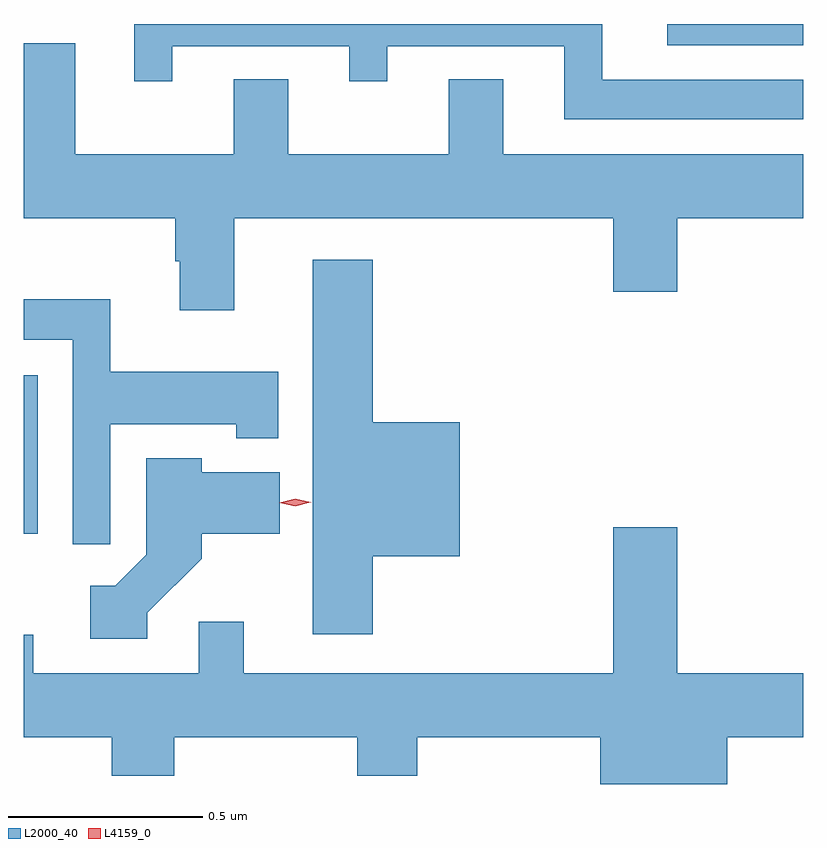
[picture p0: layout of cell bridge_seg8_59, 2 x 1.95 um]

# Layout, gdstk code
import gdstk
lib = gdstk.Library(unit=1e-6, precision=1e-09)
def R(c, l, rs):  # rectangles x0, y0, x1, y1
    for r in rs: c.add(gdstk.rectangle(r[:2], r[2:], *l))
def P(c, l, *ps):  # polygons
    for p in ps: c.add(gdstk.Polygon(p, *l))
L2000_40 = (2000, 40)
L4159_0 = (4159, 0)

bridge_seg8_59 = lib.new_cell('bridge_seg8_59')
R(bridge_seg8_59, L2000_40, [(1098.559,1109.031,1098.595,1109.437), (1100.211,1110.285,1100.559,1110.339)])
P(bridge_seg8_59, L2000_40, [(1100.559,1110.196),(1100.044,1110.196),(1100.044,1110.339),(1098.842,1110.339),(1098.842,1110.192),(1098.94,1110.192),(1098.94,1110.282),(1099.394,1110.282),(1099.394,1110.192),(1099.492,1110.192),(1099.492,1110.282),(1099.946,1110.282),(1099.946,1110.095),(1100.559,1110.095)],
  [(1099.099,1109.84),(1100.072,1109.84),(1100.072,1109.652),(1100.236,1109.652),(1100.236,1109.84),(1100.559,1109.84),(1100.559,1110.004),(1099.789,1110.004),(1099.789,1110.197),(1099.649,1110.197),(1099.649,1110.004),(1099.237,1110.004),(1099.237,1110.197),(1099.097,1110.197),(1099.097,1110.004),(1098.691,1110.004),(1098.691,1110.289),(1098.559,1110.289),(1098.559,1109.84),(1098.947,1109.84),(1098.947,1109.73),(1098.959,1109.73),(1098.959,1109.604),(1099.099,1109.604)],
  [(1099.454,1108.973),(1099.678,1108.973),(1099.678,1109.317),(1099.454,1109.317),(1099.454,1109.734),(1099.301,1109.734),(1099.301,1108.773),(1099.454,1108.773)],
  [(1098.78,1109.312),(1099.104,1109.312),(1099.104,1109.276),(1099.212,1109.276),(1099.212,1109.446),(1098.781,1109.446),(1098.781,1109.632),(1098.559,1109.632),(1098.559,1109.528),(1098.684,1109.528),(1098.684,1109.004),(1098.78,1109.004)],
  [(1098.876,1108.827),(1099.015,1108.966),(1099.015,1109.03),(1099.216,1109.03),(1099.216,1109.188),(1099.015,1109.188),(1099.015,1109.224),(1098.873,1109.224),(1098.873,1108.977),(1098.793,1108.897),(1098.729,1108.897),(1098.729,1108.761),(1098.876,1108.761)],
  [(1100.365,1108.508),(1100.559,1108.508),(1100.559,1108.672),(1100.236,1108.672),(1100.236,1109.047),(1100.072,1109.047),(1100.072,1108.672),(1099.123,1108.672),(1099.123,1108.804),(1099.008,1108.804),(1099.008,1108.672),(1098.583,1108.672),(1098.583,1108.771),(1098.559,1108.771),(1098.559,1108.508),(1098.785,1108.508),(1098.785,1108.409),(1098.945,1108.409),(1098.945,1108.508),(1099.414,1108.508),(1099.414,1108.409),(1099.569,1108.409),(1099.569,1108.508),(1100.039,1108.508),(1100.039,1108.388),(1100.365,1108.388)])
P(bridge_seg8_59, L4159_0, [(1099.255,1109.101),(1099.214,1109.11),(1099.214,1109.11),(1099.214,1109.11),(1099.255,1109.12),(1099.295,1109.111),(1099.296,1109.111),(1099.295,1109.111)])

lib.write_gds('bridge_seg8_59.gds')
